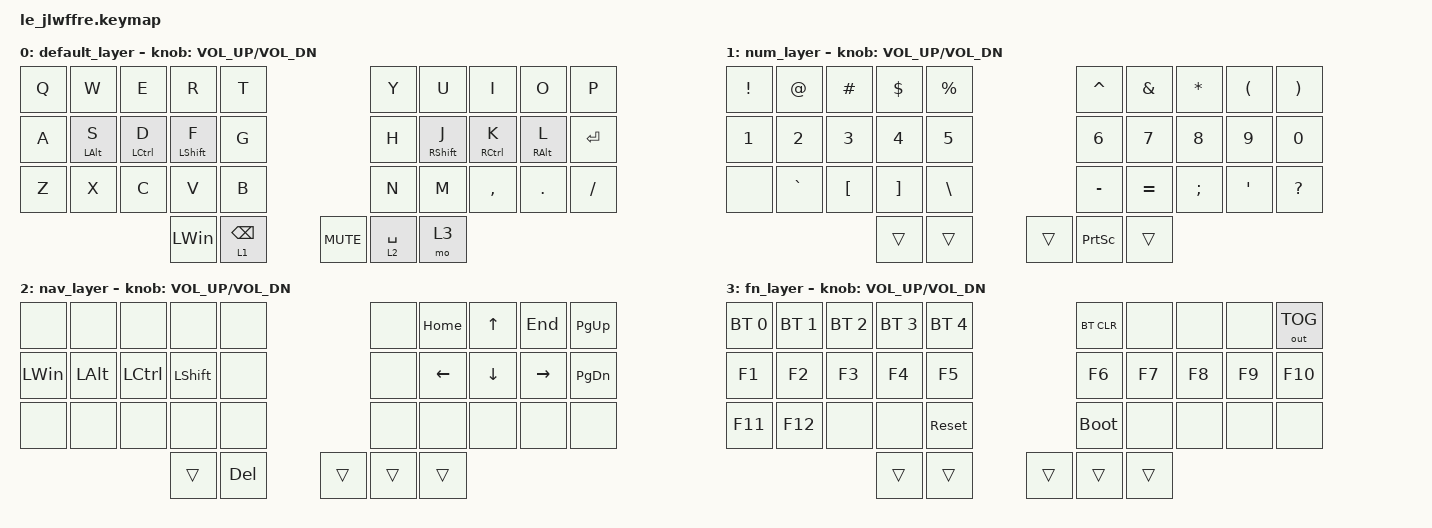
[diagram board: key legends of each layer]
/*
 * Copyright (c) 2022 The ZMK Contributors
 *
 * SPDX-License-Identifier: MIT
 */

#include <behaviors.dtsi>
#include <dt-bindings/zmk/keys.h>
#include <dt-bindings/zmk/bt.h>
#include <dt-bindings/zmk/outputs.h>

/ {
    behaviors {
        ht: hold_tap {
            compatible = "zmk,behavior-hold-tap";
            #binding-cells = <2>;
            flavor = "balanced";
            tapping-term-ms = <200>;
            quick-tap-ms = <220>;
            require-prior-idle-ms = <125>;
            bindings = <&kp>, <&kp>;
        };
        mt: mod_tap {

            #binding-cells = <2>;
	    flavor = "balanced";
            tapping-term-ms = <180>;
            quick-tap-ms = <100>;
            require-prior-idle-ms = <75>;
	    retro-tap;
            bindings = <&kp>, <&kp>;
        };
        combos {
            compatible = "zmk,combos";
            combo_esc {
                timeout-ms = <50>;
                key-positions = <0 1>;
		layers = <0>;
                bindings = <&kp ESC>;
            };
             combo_tab {
                 timeout-ms = <50>;
                 key-positions = <12 13>;
                 layers = <0>;
                 bindings = <&kp TAB>;
             };
             combo_caps {
                 timeout-ms = <50>;
                 key-positions = <13 16>;
                 layers = <0>;
                 bindings = <&kp CAPS>;
             };
             combo_backspaceword {
                 timeout-ms = <50>;
                 key-positions = <16 17>;
                 layers = <0>;
                 bindings = <&kp RC(BSPC)>;
             };
            combo_boot {
                timeout-ms = <50>;
                key-positions = <0 9 20 29>;
                layers = <0>;
                bindings = <&bootloader>;
            };
        };
    };

    keymap {
        compatible = "zmk,keymap";
        default_layer {
            bindings = <
        //╭──────────┬──────────┬──────────┬──────────┬──────────╮                      ╭──────────┬──────────┬──────────┬──────────┬──────────╮
        //│  Q       │  W       │  E       │  R       │  T       │                      │  Y       │  U       │  I       │  O       │ P        │
            &kp Q      &kp W      &kp E      &kp R      &kp T                             &kp Y      &kp U      &kp I      &kp O      &kp P
        //├──────────┼──────────┼──────────┼──────────┼──────────┤                      ├──────────┼──────────┼──────────┼──────────┼──────────┤
        //│  A       │  S       │  D       │  F       │  G       │                      │  H       │  J       │  K       │  L       │ ENTER    │
            &kp A    &mt LALT S &mt LCTRL D &mt LSHFT F  &kp G                             &kp H    &mt RSHFT J &mt RCTRL K &mt RALT L &kp RET
        //├──────────┼──────────┼──────────┼──────────┼──────────┤                      ├──────────┼──────────┼──────────┼──────────┼──────────┤
        //│  Z       │  X       │  C       │  V       │  B       │                      │  N       │  M       │ ,        │ .        │ /        │
            &kp Z      &kp X      &kp C      &kp V      &kp B                             &kp N      &kp M      &kp COMMA  &kp DOT    &kp FSLH
        //╰──────────┴──────────┴──────────┼──────────┼──────────┤                      ├──────────┼──────────┼──────────┴──────────┴──────────╯
                                            &kp LWIN   &lt 1 BSPC        &kp C_MUTE     &lt 2 SPACE  &mo 3
        //                                 ╰──────────┴──────────╯                      ╰──────────┴──────────╯
            >;
			sensor-bindings = <&inc_dec_kp C_VOL_UP C_VOL_DN>;
        };

        num_layer {
            bindings = <
        //╭──────────┬──────────┬──────────┬──────────┬──────────╮      ╭──────────┬──────────┬──────────┬──────────┬──────────╮
        //│  !       │  @       │ #        │ $        │ %        │      │  ^       │  &       │ *        │ (        │ )        │
            &kp EXCL   &kp AT     &kp HASH   &kp DLLR   &kp PRCNT        &kp CARET   &kp AMPS   &kp STAR   &kp LPAR   &kp RPAR
        //├──────────┼──────────┼──────────┼──────────┼──────────┤      ├──────────┼──────────┼──────────┼──────────┼──────────┤
        //│  1       │  2       │  3       │  4       │  5       │      │  6       │  7       │  8       │  9       │  0       │
            &kp N1     &kp N2     &kp N3     &kp N4     &kp N5            &kp N6     &kp N7     &kp N8     &kp N9     &kp N0    
        //├──────────┼──────────┼──────────┼──────────┼──────────┤      ├──────────┼──────────┼──────────┼──────────┼──────────┤
        //│          │ `~       │ {[       │ ]}       │ |\       │      │ _-       │ +=       │ :;       │ "'       │ ?        │
            &none      &kp GRAVE  &kp LBKT   &kp RBKT   &kp BSLH          &kp MINUS &kp EQUAL  &kp SEMI   &kp APOS   &kp QMARK
        //╰──────────┴──────────┴──────────┼──────────┼──────────┤      ├──────────┼──────────┼──────────┴──────────┴──────────╯
                                             &trans     &trans    &trans &kp PSCRN   &trans
        //                                 ╰──────────┴──────────╯      ╰──────────┴──────────╯
            >;
			sensor-bindings = <&inc_dec_kp C_VOL_UP C_VOL_DN>;
        };

        nav_layer {
            bindings = <
        //╭──────────┬──────────┬──────────┬──────────┬──────────╮      ╭──────────┬──────────┬──────────┬──────────┬──────────╮
        //│          │          │          │          │          │      │          │ HOME     │ UP       │  END     │ PG UP    │
            &none      &none      &none      &none      &none             &none      &kp HOME   &kp UP     &kp END    &kp PG_UP
        //├──────────┼──────────┼──────────┼──────────┼──────────┤      ├──────────┼──────────┼──────────┼──────────┼──────────┤
        //│ LWIN     │ LALT     │ LCTRL    │ LSHIFT   │          │      │          │ LEFT     │ DOWN     │ RIGHT    │ PG DN    │
            &kp LWIN   &kp LALT  &kp LCTRL   &kp LSHFT   &none             &none      &kp LEFT   &kp DOWN   &kp RIGHT  &kp PG_DN  
        //├──────────┼──────────┼──────────┼──────────┼──────────┤      ├──────────┼──────────┼──────────┼──────────┼──────────┤
        //│          │          │          │          │          │      │          │          │          │          │          │
            &none      &none      &none      &none      &none             &none      &none      &none      &none      &none 
        //╰──────────┴──────────┴──────────┼──────────┼──────────┤      ├──────────┼──────────┼──────────┴──────────┴──────────╯
                                             &trans     &kp DEL   &trans  &trans     &trans
        //                                 ╰──────────┴──────────╯      ╰──────────┴──────────╯
            >;
			sensor-bindings = <&inc_dec_kp C_VOL_UP C_VOL_DN>;
        };

        fn_layer {
            bindings = <
        //╭────────────┬────────────┬────────────┬────────────┬────────────╮       ╭────────────┬────────────┬────────────┬────────────┬────────────╮
        //│            │            │            │            │            │       │            │            │            │            │            │
           &bt BT_SEL 0 &bt BT_SEL 1 &bt BT_SEL 2 &bt BT_SEL 3 &bt BT_SEL 4          &bt BT_CLR   &none         &none        &none       &out OUT_TOG
        //├────────────┼────────────┼────────────┼────────────┼────────────┤       ├────────────┼────────────┼────────────┼────────────┼────────────┤
        //│            │            │            │            │            │       │            │            │            │            │            │
            &kp F1       &kp F2       &kp F3       &kp F4       &kp F5               &kp F6       &kp F7       &kp F8       &kp F9       &kp F10 
        //├────────────┼────────────┼────────────┼────────────┼────────────┤       ├────────────┼────────────┼────────────┼────────────┼────────────┤
        //│            │            │            │            │            │       │            │            │            │            │            │
            &kp F11      &kp F12      &none        &none        &sys_reset          &bootloader   &none        &none        &none        &none
        //╰────────────┴────────────┴────────────┼────────────┼────────────┤       ├────────────┼────────────┼────────────┴────────────┴────────────╯
                                                   &trans       &trans       &trans  &trans       &trans
        //                                       ╰────────────┴────────────╯       ╰────────────┴────────────╯
            >;
			sensor-bindings = <&inc_dec_kp C_VOL_UP C_VOL_DN>;
        };

    };

	
};
